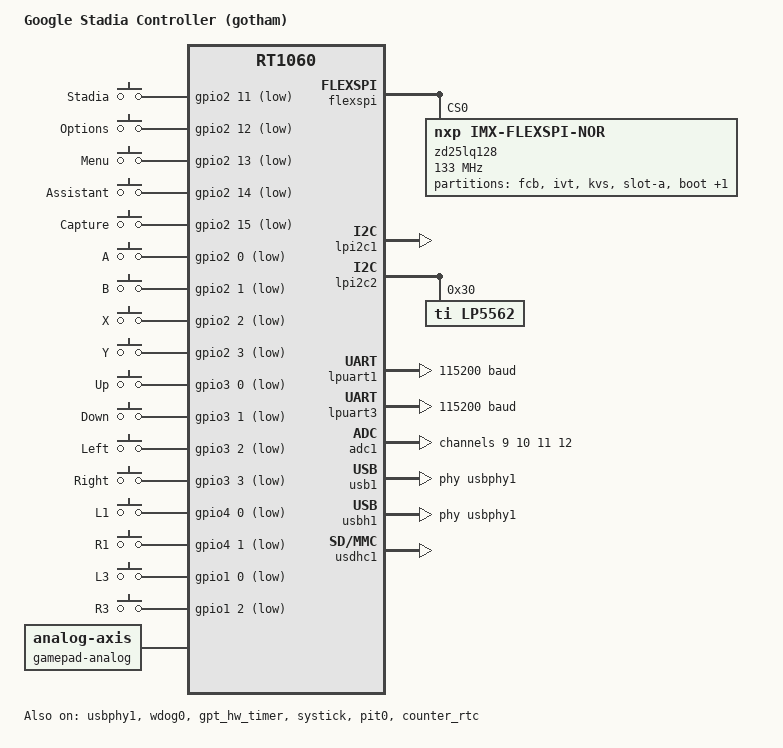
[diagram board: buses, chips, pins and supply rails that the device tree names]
/dts-v1/;

#include <nxp/nxp_rt1060.dtsi>
#include "google_gotham-pinctrl.dtsi"

#include <zephyr/dt-bindings/adc/adc.h>
#include <zephyr/dt-bindings/input/input-event-codes.h>

/ {
	model = "Google Stadia Controller (gotham)";
	compatible = "google,gotham";

	chosen {
		zephyr,flash = &ocram2;
		zephyr,sram = &ocram;
		zephyr,itcm = &itcm;
		zephyr,dtcm = &dtcm;
		zephyr,console = &lpuart1;
		zephyr,shell-uart = &lpuart1;
		zephyr,flash-controller = &zd25lq128;
		zephyr,bt-hci = &bt_hci;
	};

	aliases {
		led0 = &lp5562;
		sw0 = &stadia_button;
		watchdog0 = &wdog0;
		sdhc0 = &usdhc1;
		rtc = &counter_rtc;
	};

	gamepad-digital {
		compatible = "gpio-keys";

		stadia_button: button-stadia {
			label = "Stadia";
			gpios = <&gpio2 11 (GPIO_PULL_UP | GPIO_ACTIVE_LOW)>;
			zephyr,code = <INPUT_BTN_MODE>;
		};

		button-options {
			label = "Options";
			gpios = <&gpio2 12 (GPIO_PULL_UP | GPIO_ACTIVE_LOW)>;
			zephyr,code = <INPUT_BTN_SELECT>;
		};

		button-menu {
			label = "Menu";
			gpios = <&gpio2 13 (GPIO_PULL_UP | GPIO_ACTIVE_LOW)>;
			zephyr,code = <INPUT_BTN_START>;
		};

		button-assistant {
			label = "Assistant";
			gpios = <&gpio2 14 (GPIO_PULL_UP | GPIO_ACTIVE_LOW)>;
			zephyr,code = <INPUT_BTN_TASK>;
		};

		button-capture {
			label = "Capture";
			gpios = <&gpio2 15 (GPIO_PULL_UP | GPIO_ACTIVE_LOW)>;
			zephyr,code = <INPUT_BTN_EXTRA>;
		};

		button-a {
			label = "A";
			gpios = <&gpio2 0 (GPIO_PULL_UP | GPIO_ACTIVE_LOW)>;
			zephyr,code = <INPUT_BTN_SOUTH>;
		};

		button-b {
			label = "B";
			gpios = <&gpio2 1 (GPIO_PULL_UP | GPIO_ACTIVE_LOW)>;
			zephyr,code = <INPUT_BTN_EAST>;
		};

		button-x {
			label = "X";
			gpios = <&gpio2 2 (GPIO_PULL_UP | GPIO_ACTIVE_LOW)>;
			zephyr,code = <INPUT_BTN_WEST>;
		};

		button-y {
			label = "Y";
			gpios = <&gpio2 3 (GPIO_PULL_UP | GPIO_ACTIVE_LOW)>;
			zephyr,code = <INPUT_BTN_NORTH>;
		};

		dpad-up {
			label = "Up";
			gpios = <&gpio3 0 (GPIO_PULL_UP | GPIO_ACTIVE_LOW)>;
			zephyr,code = <INPUT_BTN_DPAD_UP>;
		};

		dpad-down {
			label = "Down";
			gpios = <&gpio3 1 (GPIO_PULL_UP | GPIO_ACTIVE_LOW)>;
			zephyr,code = <INPUT_BTN_DPAD_DOWN>;
		};

		dpad-left {
			label = "Left";
			gpios = <&gpio3 2 (GPIO_PULL_UP | GPIO_ACTIVE_LOW)>;
			zephyr,code = <INPUT_BTN_DPAD_LEFT>;
		};

		dpad-right {
			label = "Right";
			gpios = <&gpio3 3 (GPIO_PULL_UP | GPIO_ACTIVE_LOW)>;
			zephyr,code = <INPUT_BTN_DPAD_RIGHT>;
		};

		button-l1 {
			label = "L1";
			gpios = <&gpio4 0 (GPIO_PULL_UP | GPIO_ACTIVE_LOW)>;
			zephyr,code = <INPUT_BTN_TL>;
		};

		button-r1 {
			label = "R1";
			gpios = <&gpio4 1 (GPIO_PULL_UP | GPIO_ACTIVE_LOW)>;
			zephyr,code = <INPUT_BTN_TR>;
		};

		button-l3 {
			label = "L3";
			gpios = <&gpio1 0 (GPIO_PULL_UP | GPIO_ACTIVE_LOW)>;
			zephyr,code = <INPUT_BTN_THUMBL>;
		};

		button-r3 {
			label = "R3";
			gpios = <&gpio1 2 (GPIO_PULL_UP | GPIO_ACTIVE_LOW)>;
			zephyr,code = <INPUT_BTN_THUMBR>;
		};
	};

	gamepad-analog {
		compatible = "analog-axis";
		poll-period-ms = <15>;

		axis-r3-x {
			io-channels = <&adc1 9>;
			in-deadzone = <200>;
			in-min = <0>;
			in-max = <3300>;
			zephyr,axis = <INPUT_ABS_RX>;
		};

		axis-r3-y {
			io-channels = <&adc1 10>;
			in-deadzone = <200>;
			in-min = <0>;
			in-max = <3300>;
			zephyr,axis = <INPUT_ABS_RY>;
		};

		axis-l3-x {
			io-channels = <&adc1 11>;
			in-deadzone = <200>;
			in-min = <0>;
			in-max = <3300>;
			zephyr,axis = <INPUT_ABS_X>;
		};

		axis-l3-y {
			io-channels = <&adc1 12>;
			in-deadzone = <200>;
			in-min = <0>;
			in-max = <3300>;
			zephyr,axis = <INPUT_ABS_Y>;
		};
	};
};

&flexspi {
	status = "okay";
	pinctrl-0 = <&pinmux_flexspi>;
	pinctrl-names = "default";
	ahb-prefetch;
	ahb-read-addr-opt;
	rx-clock-source = <1>;
	reg = <0x402a8000 0x4000>, <0x60000000 DT_SIZE_M(16)>;

	zd25lq128: zd25lq128@0 {
		compatible = "nxp,imx-flexspi-nor";
		size = <DT_SIZE_M(16 * 8)>;
		reg = <0>;
		spi-max-frequency = <DT_FREQ_M(133)>;
		status = "okay";
		jedec-id = [9d 70 17]; // TODO
		erase-block-size = <DT_SIZE_K(4)>;
		write-block-size = <1>;

		partitions {
			compatible = "fixed-partitions";
			#address-cells = <1>;
			#size-cells = <1>;

			/* Flash Configuration Block */
			partition@0 {
				label = "fcb";
				reg = <0x000000 DT_SIZE_K(4)>;
			};

			/* Image Vector Table */
			partition@1000 {
				label = "ivt";
				reg = <0x001000 DT_SIZE_K(4)>;
			};

			/* Key/Value Store */
			kvs_partition: partition@6000 {
				label = "kvs";
				reg = <0x006000 DT_SIZE_K(232)>;
			};

			slot_a_partition: partition@40000 {
				label = "slot-a";
				reg = <0x040000 (DT_SIZE_M(8) - DT_SIZE_K(256))>;
			};

			partition@8000000 {
				label = "boot";
				reg = <0x800000 DT_SIZE_K(256)>;
			};

			slot_b_partition: partition@840000 {
				label = "slot-b";
				reg = <0x840000 (DT_SIZE_M(8) - DT_SIZE_K(256))>;
			};
		};
	};
};

&lpi2c1 {
	status = "okay";
	pinctrl-0 = <&pinmux_lpi2c1>;
	pinctrl-names = "default";

	// TODO: devices
};

&lpi2c2 {
	status = "okay";
	pinctrl-0 = <&pinmux_lpi2c2>;
	pinctrl-names = "default";

	lp5562: leds@30 {
		compatible = "ti,lp5562";
		reg = <0x30>;
		status = "okay";
	};
};

&lpuart1 {
	status = "okay";
	current-speed = <115200>;
	pinctrl-0 = <&pinmux_lpuart1>;
	pinctrl-names = "default";
};

&lpuart3 {
	status = "okay";
	current-speed = <115200>;
	pinctrl-0 = <&pinmux_lpuart3>;
	pinctrl-1 = <&pinmux_lpuart3_flow_control>;
	pinctrl-names = "default", "flowcontrol";

	hw-flow-control;

	bt_hci: bluetooth {
		compatible = "zephyr,bt-hci-uart";
		status = "okay";

		bcm43458f_bt {
			compatible = "infineon,cyw43xxx-bt-hci";
			status = "okay";

			bt-reg-on-gpios = <&gpio3 20 GPIO_ACTIVE_HIGH>;
			// TODO: bt-dev-wake-gpios?
			fw-download-speed = <4000000>;
			hci-operation-speed = <4000000>;
		};
	};
};

&adc1 {
	status = "okay";
	pinctrl-0 = <&pinmux_joysticks>;
	pinctrl-names = "default";
	#address-cells = <1>;
	#size-cells = <0>;

	r3_x: channel@9 {
		reg = <9>;
		zephyr,gain = "ADC_GAIN_1";
		zephyr,reference = "ADC_REF_INTERNAL";
		zephyr,acquisition-time = <ADC_ACQ_TIME_DEFAULT>;
		zephyr,resolution = <12>;
	};

	r3_y: channel@10 {
		reg = <10>;
		zephyr,gain = "ADC_GAIN_1";
		zephyr,reference = "ADC_REF_INTERNAL";
		zephyr,acquisition-time = <ADC_ACQ_TIME_DEFAULT>;
		zephyr,resolution = <12>;
	};

	l3_x: channel@11 {
		reg = <11>;
		zephyr,gain = "ADC_GAIN_1";
		zephyr,reference = "ADC_REF_INTERNAL";
		zephyr,acquisition-time = <ADC_ACQ_TIME_DEFAULT>;
		zephyr,resolution = <12>;
	};

	l3_y: channel@12 {
		reg = <12>;
		zephyr,gain = "ADC_GAIN_1";
		zephyr,reference = "ADC_REF_INTERNAL";
		zephyr,acquisition-time = <ADC_ACQ_TIME_DEFAULT>;
		zephyr,resolution = <12>;
	};
};

zephyr_udc0: &usb1 {
	status = "okay";
	phy-handle = <&usbphy1>;
};

zephyr_uhc0: &usbh1 {
	status = "okay";
	phy-handle = <&usbphy1>;
};

&usbphy1 {
	status = "okay";
	tx-d-cal = <6>;
	tx-cal-45-dp-ohms = <3>;
	tx-cal-45-dm-ohms = <3>;
};

&usdhc1 {
	status = "okay";
	//power-delay-ms = <1000>;
	//pwr-gpios = <&gpio1 5 GPIO_ACTIVE_HIGH>;
	//cd-gpios = <&gpio2 28 GPIO_ACTIVE_LOW>;
	status = "okay";
	pinctrl-0 = <&pinmux_usdhc1>;
	pinctrl-names = "default";

	// TODO: Wi-Fi
};

&edma0 {
	status = "okay";
};

&wdog0 {
	status = "okay";
};

// TODO
#if 0
&sai1 {
	status = "okay";
	pinctrl-0 = <&pinmux_sai1>;
	pinctrl-names = "default";
};
#endif

&gpt_hw_timer {
	status = "okay";
};

&systick {
	status = "okay";
};

&iomuxcgpr {
	status = "okay";
};

&pit0 {
	status = "okay";
};

&counter_rtc {
	status = "okay";
};
